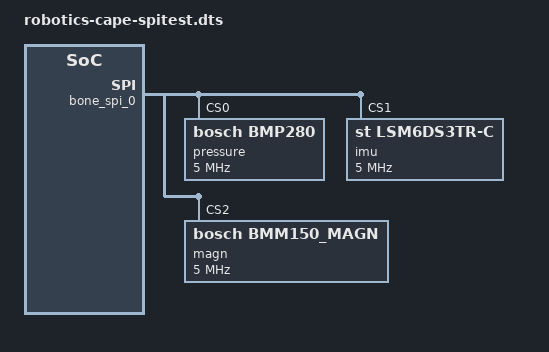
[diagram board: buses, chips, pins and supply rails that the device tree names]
// SPDX-License-Identifier: GPL-2.0
/*
 * Copyright (C) 2022 Jason Kridner, BeagleBoard.org Foundation
 */

/dts-v1/;
/plugin/;

#include <dt-bindings/gpio/gpio.h>
#include <dt-bindings/interrupt-controller/arm-gic.h>
#include <dt-bindings/interrupt-controller/irq.h>
#include <dt-bindings/pinctrl/k3.h>
#include <dt-bindings/board/k3-j721e-bone-pins.h>
#include <dt-bindings/soc/ti,sci_pm_domain.h>
#include <dt-bindings/input/linux-event-codes.h>

&{/chosen} {
	overlays {
		BB-ROBOTICS-CAPE-SPITEST-00B0.kernel = __TIMESTAMP__;
	};
};

&bone_spi_0 {
	/* P9_18 - SPI6_D1 - SDI */
	/* P9_21 - SPI6_D0 - SDO */
	/* P9_22 - SPI6_CLK */
	/* P9_17 - Barometer_CS# - SPI6_CS0 */
	/* P9_23 - IMU_CS# - SPI6_CS1 */
	/* P9_25 - Magnetometer_CS# */
	status = "okay";
	pinctrl-names = "default";
	pinctrl-0 = <
		&P9_17_spi_pin /* spi6_cs0 */
		&P9_22_spi_pin /* spi6_clk */
		&P9_21_spi_pin /* spi6_d0 */
		&P9_18_spi_pin /* spi6_d1 */
		&P9_23_spi_pin /* spi6_cs1 */
		&P9_25_gpio_pin
	>;
	ti,spi-num-cs = <3>;
	ti,pindir-d0-out-d1-in;
	cs-gpios = <0>, /* P9_17 */
		   <0>, /* P9_23 */
		   <gpio_P9_25 GPIO_ACTIVE_LOW>;

	#address-cells = <1>;
	#size-cells = <0>;

	pressure@0 {
		compatible = "bosch,bmp280";
		reg = <0>;	/* CE0 */
		spi-max-frequency = <5000000>;
	};

	imu@1 {
		compatible = "st,lsm6ds3tr-c";
		#address-cells = <1>;
		#size-cells = <0>;
		reg = <1>;	/* CE1 */
		spi-max-frequency = <5000000>;
	};

	magn@2 {
		compatible = "bosch,bmm150_magn";
		#address-cells = <1>;
		#size-cells = <0>;
		reg = <2>;	/* CE2 */
		spi-max-frequency = <5000000>;
	};
};
